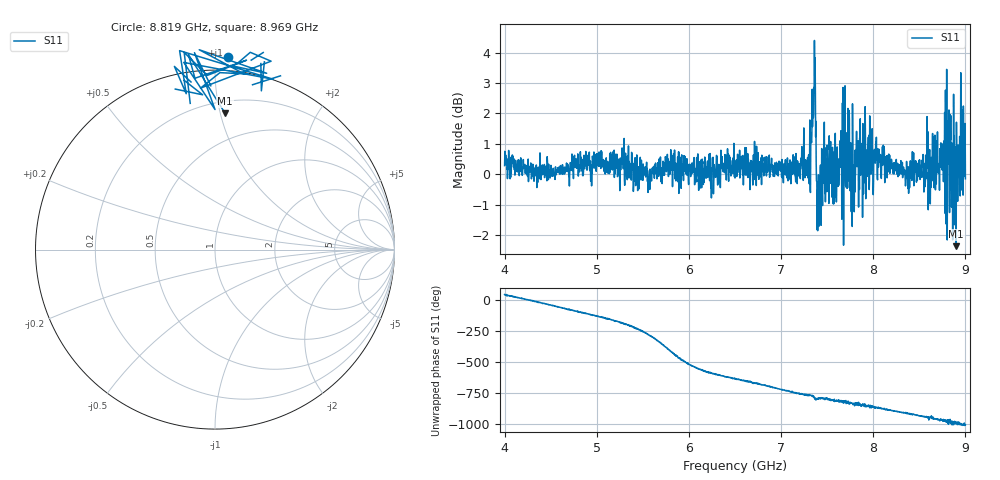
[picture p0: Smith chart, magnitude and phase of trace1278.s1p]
! Created with skrf 1.8.0 (http://scikit-rf.org).
# Hz S RI R 50.0
!freq ReS11 ImS11
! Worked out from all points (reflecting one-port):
!   1601 points, 4 GHz to 9 GHz, reference 50 ohm
!   lowest |S11| = -2.4 dB at 8.9 GHz (marker M1), VSWR 7.40, Z = 14.3 + j51.7 ohm
!   phase of S11 starts at 46 deg and turns -1055 deg over the sweep
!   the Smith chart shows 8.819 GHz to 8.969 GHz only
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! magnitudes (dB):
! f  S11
! 4 GHz  0.3
! 4.625 GHz  0.0
! 5.25 GHz  -0.5
! 5.575 GHz  -0.5
! 5.822 GHz  -0.4
! 5.875 GHz  0.0
! 6.5 GHz  -0.1
! 7.125 GHz  0.3
! 7.294 GHz  -0.1
! 7.353 GHz  2.0
! 7.397 GHz  -1.9
! 7.412 GHz  -0.4
! 7.512 GHz  0.0
! 7.578 GHz  0.7
! 7.647 GHz  0.5
! 7.7 GHz  -0.4
! 7.716 GHz  -0.5
! 7.75 GHz  -0.5
! 7.775 GHz  2.3
! 7.834 GHz  1.1
! 8.375 GHz  0.1
! 8.569 GHz  0.6
! 8.622 GHz  -0.1
! 8.656 GHz  1.2
! 8.759 GHz  1.0
! 8.9 GHz  -2.4
! 8.972 GHz  0.3
! 9 GHz  -0.1
